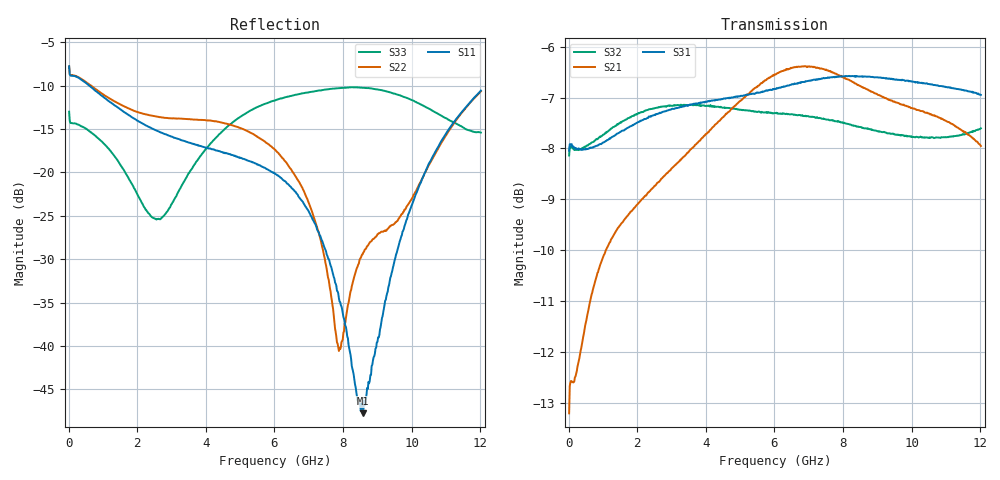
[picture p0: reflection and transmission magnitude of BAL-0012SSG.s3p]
! MARKI MICROWAVE INC.
! Email:  info@markimicrowave.com  Phone:  408-778-4200
! Model Number:  BAL-0012SSG  Date:  04/20
! Filename:		BAL-0012SSG.S3P  Version: 1.0
! Description:  3-port S-parameter data for Balun BAL-0012SMG
! Frequency Range: 	10 MHz to 12 GHz
! Port Configuration:	PORT 1: OUTPUT(0 DEGREE) , PORT 2: OUTPUT (180 DEGREE), PORT 3: COMMON
! S3P File: Measurements: Mag<S11> Ang<S11> Mag<S12> Ang<S12> Mag<S13> Ang<S13>! row 1
!  Mag<S21> Ang<S21> Mag<S22> Ang<S22> Mag<S23> Ang<S23>! row 2
!  Mag<S31> Ang<S31> Mag<S32> Ang<S32> Mag<S33> Ang<S33>! row 3
# Hz S  dB  R 50
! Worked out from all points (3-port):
!   642 points, 10 MHz to 12.02 GHz, reference 50 ohm
!   strongest paths, dB at 10 MHz, 3.008 GHz, 6.025 GHz, 9.023 GHz, 12.02 GHz:
!     S31: -8.0, -7.2, -6.8, -6.6, -6.9
!     S21: -13.2, -8.4, -6.5, -6.9, -8.0
!     S32: -8.1, -7.2, -7.3, -7.7, -7.6
!   lowest |S11| = -47.8 dB at 8.573 GHz (marker M1), VSWR 1.01, Z = 50.4 - j0.00757 ohm
!   |S11| at or under -10 dB: 594.2 MHz to end of sweep
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1e7  -7.77 165.3  -13.18 15.5  -8.03 -176.1
     -13.20 15.5  -7.78 164.8  -8.15 4.1
     -8.04 -176.3  -8.14 4.5  -13.02 161.0
1.190462e9  -11.87 75.9  -9.85 -71.8  -7.80 87.9
            -9.85 -71.8  -11.50 80.5  -7.63 -89.2
            -7.80 87.9  -7.64 -89.2  -17.41 71.6
2.295975e9  -14.70 3.0  -8.88 -152.4  -7.40 -0.2
            -8.88 -152.4  -13.37 10.9  -7.26 -176.2
            -7.40 -0.2  -7.25 -176.2  -24.56 18.6
4.076038e9  -17.25 -101.1  -7.67 77.4  -7.07 -143.2
            -7.68 77.4  -14.03 -97.3  -7.17 41.7
            -7.07 -143.3  -7.16 41.7  -16.97 -19.0
6.024738e9  -20.20 143.4  -6.54 -70.6  -6.83 62.3
            -6.55 -70.6  -17.42 137.9  -7.31 -113.4
            -6.83 62.3  -7.31 -113.4  -11.71 -141.7
6.924138e9  -24.02 83.5  -6.39 -140.8  -6.68 -8.9
            -6.39 -140.7  -22.81 79.5  -7.37 174.6
            -6.68 -8.9  -7.37 174.5  -10.84 164.2
7.87975e9  -34.52 12.1  -6.55 145.0  -6.59 -84.9
           -6.56 145.0  -40.59 80.9  -7.47 97.6
           -6.59 -84.8  -7.47 97.6  -10.30 106.5
8.573038e9  -47.77 -1.1  -6.80 92.0  -6.59 -139.9
            -6.79 92.0  -29.45 106.9  -7.60 41.8
            -6.58 -139.9  -7.59 41.9  -10.27 60.8
1.022194e10  -21.61 -123.9  -7.24 -32.5  -6.71 89.8
             -7.25 -32.5  -21.37 -77.3  -7.78 -90.3
             -6.71 89.8  -7.78 -90.4  -12.09 -61.0
1.202074e10  -10.59 110.9  -7.96 -171.5  -6.94 -53.2
             -7.95 -171.4  -10.67 131.3  -7.60 125.9
             -6.95 -53.2  -7.61 125.9  -15.42 -177.3
